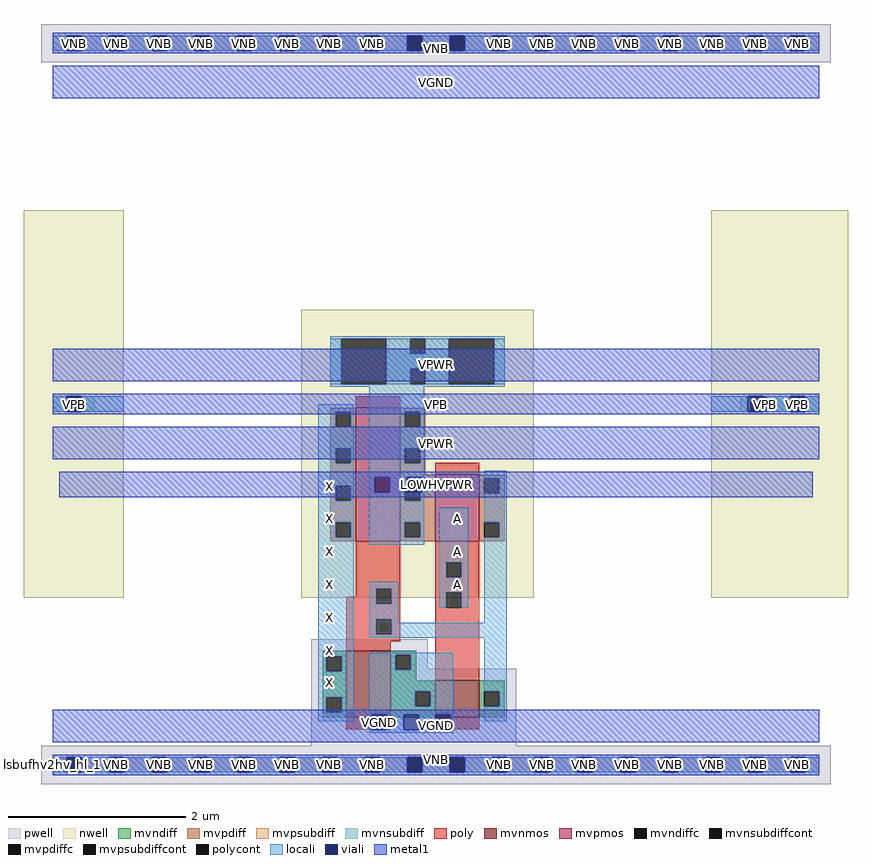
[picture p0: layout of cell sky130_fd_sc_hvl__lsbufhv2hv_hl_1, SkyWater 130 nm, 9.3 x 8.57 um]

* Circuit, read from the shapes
.subckt sky130_fd_sc_hvl__lsbufhv2hv_hl_1 A LOWHVPWR VGND VNB VPB VPWR X
XM1 VGND n1 X VNB sky130_fd_pr__nfet_g5v0d10v5 w=0.75 l=0.5
XM2 n1 A VGND VNB sky130_fd_pr__nfet_g5v0d10v5 w=0.42 l=0.5
XM3 LOWHVPWR n1 X LOWHVPWR sky130_fd_pr__pfet_g5v0d10v5 w=1.5 l=0.5
XM4 n1 A LOWHVPWR LOWHVPWR sky130_fd_pr__pfet_g5v0d10v5 w=0.75 l=0.5
.ends

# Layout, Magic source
magic
tech sky130A
magscale 1 2
<< nwell >>
rect -66 377 160 1251
rect 560 377 1085 1027
rect 1485 377 1794 1251
<< pwell >>
rect -26 1585 1754 1671
rect 583 217 845 283
rect 583 43 1045 217
rect -26 -43 1754 43
<< mvnmos >>
rect 662 107 762 257
rect 862 107 962 191
<< mvpmos >>
rect 683 505 783 805
rect 862 505 962 655
<< mvndiff >>
rect 609 245 662 257
rect 609 211 617 245
rect 651 211 662 245
rect 609 153 662 211
rect 609 119 617 153
rect 651 119 662 153
rect 609 107 662 119
rect 762 249 819 257
rect 762 215 773 249
rect 807 215 819 249
rect 762 191 819 215
rect 762 166 862 191
rect 762 132 817 166
rect 851 132 862 166
rect 762 107 862 132
rect 962 166 1019 191
rect 962 132 973 166
rect 1007 132 1019 166
rect 962 107 1019 132
<< mvpdiff >>
rect 626 797 683 805
rect 626 763 638 797
rect 672 763 683 797
rect 626 714 683 763
rect 626 680 638 714
rect 672 680 683 714
rect 626 630 683 680
rect 626 596 638 630
rect 672 596 683 630
rect 626 547 683 596
rect 626 513 638 547
rect 672 513 683 547
rect 626 505 683 513
rect 783 797 840 805
rect 783 763 794 797
rect 828 763 840 797
rect 783 714 840 763
rect 783 680 794 714
rect 828 680 840 714
rect 783 655 840 680
rect 783 630 862 655
rect 783 596 794 630
rect 828 596 862 630
rect 783 547 862 596
rect 783 513 794 547
rect 828 513 862 547
rect 783 505 862 513
rect 962 647 1019 655
rect 962 613 973 647
rect 1007 613 1019 647
rect 962 547 1019 613
rect 962 513 973 547
rect 1007 513 1019 547
rect 962 505 1019 513
<< mvndiffc >>
rect 617 211 651 245
rect 617 119 651 153
rect 773 215 807 249
rect 817 132 851 166
rect 973 132 1007 166
<< mvpdiffc >>
rect 638 763 672 797
rect 638 680 672 714
rect 638 596 672 630
rect 638 513 672 547
rect 794 763 828 797
rect 794 680 828 714
rect 794 596 828 630
rect 794 513 828 547
rect 973 613 1007 647
rect 973 513 1007 547
<< mvpsubdiff >>
rect 0 1611 31 1645
rect 65 1611 127 1645
rect 161 1611 223 1645
rect 257 1611 319 1645
rect 353 1611 415 1645
rect 449 1611 511 1645
rect 545 1611 607 1645
rect 641 1611 703 1645
rect 737 1611 799 1645
rect 833 1611 895 1645
rect 929 1611 991 1645
rect 1025 1611 1087 1645
rect 1121 1611 1183 1645
rect 1217 1611 1279 1645
rect 1313 1611 1375 1645
rect 1409 1611 1471 1645
rect 1505 1611 1567 1645
rect 1601 1611 1663 1645
rect 1697 1611 1728 1645
rect 0 -17 31 17
rect 65 -17 127 17
rect 161 -17 223 17
rect 257 -17 319 17
rect 353 -17 415 17
rect 449 -17 511 17
rect 545 -17 607 17
rect 641 -17 703 17
rect 737 -17 799 17
rect 833 -17 895 17
rect 929 -17 991 17
rect 1025 -17 1087 17
rect 1121 -17 1183 17
rect 1217 -17 1279 17
rect 1313 -17 1375 17
rect 1409 -17 1471 17
rect 1505 -17 1567 17
rect 1601 -17 1663 17
rect 1697 -17 1728 17
<< mvnsubdiff >>
rect 626 859 650 961
rect 752 927 806 961
rect 840 927 893 961
rect 752 893 893 927
rect 752 859 806 893
rect 840 859 893 893
rect 995 859 1019 961
rect 0 797 31 831
rect 65 797 94 831
rect 1551 797 1575 831
rect 1609 797 1663 831
rect 1697 797 1728 831
<< mvpsubdiffcont >>
rect 31 1611 65 1645
rect 127 1611 161 1645
rect 223 1611 257 1645
rect 319 1611 353 1645
rect 415 1611 449 1645
rect 511 1611 545 1645
rect 607 1611 641 1645
rect 703 1611 737 1645
rect 799 1611 833 1645
rect 895 1611 929 1645
rect 991 1611 1025 1645
rect 1087 1611 1121 1645
rect 1183 1611 1217 1645
rect 1279 1611 1313 1645
rect 1375 1611 1409 1645
rect 1471 1611 1505 1645
rect 1567 1611 1601 1645
rect 1663 1611 1697 1645
rect 31 -17 65 17
rect 127 -17 161 17
rect 223 -17 257 17
rect 319 -17 353 17
rect 415 -17 449 17
rect 511 -17 545 17
rect 607 -17 641 17
rect 703 -17 737 17
rect 799 -17 833 17
rect 895 -17 929 17
rect 991 -17 1025 17
rect 1087 -17 1121 17
rect 1183 -17 1217 17
rect 1279 -17 1313 17
rect 1375 -17 1409 17
rect 1471 -17 1505 17
rect 1567 -17 1601 17
rect 1663 -17 1697 17
<< mvnsubdiffcont >>
rect 650 859 752 961
rect 806 927 840 961
rect 806 859 840 893
rect 893 859 995 961
rect 31 797 65 831
rect 1575 797 1609 831
rect 1663 797 1697 831
<< poly >>
rect 683 805 783 831
rect 862 655 962 681
rect 683 397 783 505
rect 683 379 729 397
rect 662 363 729 379
rect 763 363 783 397
rect 662 329 783 363
rect 662 295 729 329
rect 763 295 783 329
rect 662 279 783 295
rect 862 457 962 505
rect 862 423 887 457
rect 921 423 962 457
rect 862 389 962 423
rect 862 355 887 389
rect 921 355 962 389
rect 662 257 762 279
rect 862 191 962 355
rect 662 81 762 107
rect 862 81 962 107
<< polycont >>
rect 729 363 763 397
rect 729 295 763 329
rect 887 423 921 457
rect 887 355 921 389
<< locali >>
rect 0 1611 31 1645
rect 65 1611 127 1645
rect 161 1611 223 1645
rect 257 1611 319 1645
rect 353 1611 415 1645
rect 449 1611 511 1645
rect 545 1611 607 1645
rect 641 1611 703 1645
rect 737 1611 799 1645
rect 833 1611 895 1645
rect 929 1611 991 1645
rect 1025 1611 1087 1645
rect 1121 1611 1183 1645
rect 1217 1611 1279 1645
rect 1313 1611 1375 1645
rect 1409 1611 1471 1645
rect 1505 1611 1567 1645
rect 1601 1611 1663 1645
rect 1697 1611 1728 1645
rect 626 961 1019 967
rect 626 859 650 961
rect 752 927 806 961
rect 840 927 893 961
rect 752 893 893 927
rect 752 859 806 893
rect 840 859 893 893
rect 995 859 1019 961
rect 626 853 1019 859
rect 0 797 31 831
rect 65 797 160 831
rect 599 797 679 813
rect 599 763 638 797
rect 672 763 679 797
rect 599 714 679 763
rect 599 680 638 714
rect 672 680 679 714
rect 599 630 679 680
rect 599 596 638 630
rect 672 596 679 630
rect 599 547 679 596
rect 599 513 638 547
rect 672 513 679 547
rect 599 245 679 513
rect 713 797 837 853
rect 1485 797 1567 831
rect 1609 797 1663 831
rect 1697 797 1728 831
rect 713 763 794 797
rect 828 763 837 797
rect 713 714 837 763
rect 713 680 794 714
rect 828 680 837 714
rect 713 649 837 680
rect 713 615 726 649
rect 760 630 798 649
rect 760 615 794 630
rect 832 615 837 649
rect 713 596 794 615
rect 828 596 837 615
rect 713 547 837 596
rect 973 647 1023 663
rect 1007 613 1023 647
rect 713 513 794 547
rect 828 513 837 547
rect 713 497 837 513
rect 871 457 937 580
rect 871 423 887 457
rect 921 423 937 457
rect 713 397 779 413
rect 713 363 729 397
rect 763 363 779 397
rect 713 329 779 363
rect 871 389 937 423
rect 871 355 887 389
rect 921 355 937 389
rect 973 547 1023 613
rect 1007 513 1023 547
rect 713 295 729 329
rect 763 321 779 329
rect 973 321 1023 513
rect 763 295 1023 321
rect 713 287 1023 295
rect 599 211 617 245
rect 651 211 679 245
rect 599 153 679 211
rect 599 119 617 153
rect 651 119 679 153
rect 599 99 679 119
rect 713 249 903 253
rect 713 215 773 249
rect 807 215 903 249
rect 713 166 903 215
rect 713 132 817 166
rect 851 132 903 166
rect 713 113 903 132
rect 713 79 719 113
rect 753 79 791 113
rect 825 79 863 113
rect 897 79 903 113
rect 973 166 1023 287
rect 1007 132 1023 166
rect 973 99 1023 132
rect 713 73 903 79
rect 0 -17 31 17
rect 65 -17 127 17
rect 161 -17 223 17
rect 257 -17 319 17
rect 353 -17 415 17
rect 449 -17 511 17
rect 545 -17 607 17
rect 641 -17 703 17
rect 737 -17 799 17
rect 833 -17 895 17
rect 929 -17 991 17
rect 1025 -17 1087 17
rect 1121 -17 1183 17
rect 1217 -17 1279 17
rect 1313 -17 1375 17
rect 1409 -17 1471 17
rect 1505 -17 1567 17
rect 1601 -17 1663 17
rect 1697 -17 1728 17
<< viali >>
rect 31 1611 65 1645
rect 127 1611 161 1645
rect 223 1611 257 1645
rect 319 1611 353 1645
rect 415 1611 449 1645
rect 511 1611 545 1645
rect 607 1611 641 1645
rect 703 1611 737 1645
rect 799 1611 833 1645
rect 895 1611 929 1645
rect 991 1611 1025 1645
rect 1087 1611 1121 1645
rect 1183 1611 1217 1645
rect 1279 1611 1313 1645
rect 1375 1611 1409 1645
rect 1471 1611 1505 1645
rect 1567 1611 1601 1645
rect 1663 1611 1697 1645
rect 31 797 65 831
rect 1567 797 1575 831
rect 1575 797 1601 831
rect 1663 797 1697 831
rect 726 615 760 649
rect 798 630 832 649
rect 798 615 828 630
rect 828 615 832 630
rect 719 79 753 113
rect 791 79 825 113
rect 863 79 897 113
rect 31 -17 65 17
rect 127 -17 161 17
rect 223 -17 257 17
rect 319 -17 353 17
rect 415 -17 449 17
rect 511 -17 545 17
rect 607 -17 641 17
rect 703 -17 737 17
rect 799 -17 833 17
rect 895 -17 929 17
rect 991 -17 1025 17
rect 1087 -17 1121 17
rect 1183 -17 1217 17
rect 1279 -17 1313 17
rect 1375 -17 1409 17
rect 1471 -17 1505 17
rect 1567 -17 1601 17
rect 1663 -17 1697 17
<< metal1 >>
rect 0 1645 1728 1651
rect 0 1611 31 1645
rect 65 1611 127 1645
rect 161 1611 223 1645
rect 257 1611 319 1645
rect 353 1611 415 1645
rect 449 1611 511 1645
rect 545 1611 607 1645
rect 641 1611 703 1645
rect 737 1611 799 1645
rect 833 1611 895 1645
rect 929 1611 991 1645
rect 1025 1611 1087 1645
rect 1121 1611 1183 1645
rect 1217 1611 1279 1645
rect 1313 1611 1375 1645
rect 1409 1611 1471 1645
rect 1505 1611 1567 1645
rect 1601 1611 1663 1645
rect 1697 1611 1728 1645
rect 0 1605 1728 1611
rect 0 1503 1728 1577
rect 0 865 1728 939
rect 0 831 1728 837
rect 0 797 31 831
rect 65 797 1567 831
rect 1601 797 1663 831
rect 1697 797 1728 831
rect 0 791 1728 797
rect 0 689 1728 763
rect 14 649 1714 661
rect 14 615 726 649
rect 760 615 798 649
rect 832 615 1714 649
rect 14 604 1714 615
rect 0 113 1728 125
rect 0 79 719 113
rect 753 79 791 113
rect 825 79 863 113
rect 897 79 1728 113
rect 0 51 1728 79
rect 0 17 1728 23
rect 0 -17 31 17
rect 65 -17 127 17
rect 161 -17 223 17
rect 257 -17 319 17
rect 353 -17 415 17
rect 449 -17 511 17
rect 545 -17 607 17
rect 641 -17 703 17
rect 737 -17 799 17
rect 833 -17 895 17
rect 929 -17 991 17
rect 1025 -17 1087 17
rect 1121 -17 1183 17
rect 1217 -17 1279 17
rect 1313 -17 1375 17
rect 1409 -17 1471 17
rect 1505 -17 1567 17
rect 1601 -17 1663 17
rect 1697 -17 1728 17
rect 0 -23 1728 -17
<< labels >>
flabel locali s 607 538 641 572 0 FreeSans 340 0 0 0 X
port 7 nsew signal output
flabel locali s 895 538 929 572 0 FreeSans 340 0 0 0 A
port 1 nsew signal input
flabel locali s 607 464 641 498 0 FreeSans 340 0 0 0 X
port 7 nsew signal output
flabel locali s 607 390 641 424 0 FreeSans 340 0 0 0 X
port 7 nsew signal output
flabel locali s 895 464 929 498 0 FreeSans 340 0 0 0 A
port 1 nsew signal input
flabel locali s 607 316 641 350 0 FreeSans 340 0 0 0 X
port 7 nsew signal output
flabel locali s 607 242 641 276 0 FreeSans 340 0 0 0 X
port 7 nsew signal output
flabel locali s 607 612 641 646 0 FreeSans 340 0 0 0 X
port 7 nsew signal output
flabel locali s 895 390 929 424 0 FreeSans 340 0 0 0 A
port 1 nsew signal input
flabel locali s 607 168 641 202 0 FreeSans 340 0 0 0 X
port 7 nsew signal output
rlabel comment s 0 0 0 0 4 lsbufhv2hv_hl_1
flabel metal1 s 0 689 1728 763 0 FreeSans 200 0 0 0 VPWR
port 6 nsew power bidirectional
flabel metal1 s 0 865 1728 939 0 FreeSans 200 0 0 0 VPWR
port 6 nsew power bidirectional
flabel metal1 s 0 1503 1728 1577 0 FreeSans 340 0 0 0 VGND
port 3 nsew ground bidirectional
flabel metal1 s 0 51 1728 125 0 FreeSans 340 0 0 0 VGND
port 3 nsew ground bidirectional
flabel metal1 s 0 0 1728 23 0 FreeSans 340 0 0 0 VNB
port 4 nsew ground bidirectional
flabel metal1 s 14 604 1714 661 0 FreeSans 340 0 0 0 LOWHVPWR
port 2 nsew power bidirectional
flabel metal1 s 0 791 1728 837 0 FreeSans 340 0 0 0 VPB
port 5 nsew power bidirectional
flabel metal1 s 0 1605 1728 1628 0 FreeSans 340 0 0 0 VNB
port 4 nsew ground bidirectional
rlabel viali s 798 615 832 649 1 LOWHVPWR
port 2 nsew power bidirectional
rlabel viali s 726 615 760 649 1 LOWHVPWR
port 2 nsew power bidirectional
rlabel metal1 s 14 604 1714 661 1 LOWHVPWR
port 2 nsew power bidirectional
rlabel viali s 863 79 897 113 1 VGND
port 3 nsew ground bidirectional
rlabel viali s 791 79 825 113 1 VGND
port 3 nsew ground bidirectional
rlabel viali s 719 79 753 113 1 VGND
port 3 nsew ground bidirectional
rlabel metal1 s 0 51 1728 125 1 VGND
port 3 nsew ground bidirectional
rlabel metal1 s 0 1503 1728 1577 1 VGND
port 3 nsew ground bidirectional
rlabel locali s 0 1611 1728 1645 1 VNB
port 4 nsew ground bidirectional
rlabel viali s 1663 1611 1697 1645 1 VNB
port 4 nsew ground bidirectional
rlabel viali s 1663 -17 1697 17 1 VNB
port 4 nsew ground bidirectional
rlabel viali s 1567 1611 1601 1645 1 VNB
port 4 nsew ground bidirectional
rlabel viali s 1567 -17 1601 17 1 VNB
port 4 nsew ground bidirectional
rlabel viali s 1471 1611 1505 1645 1 VNB
port 4 nsew ground bidirectional
rlabel viali s 1471 -17 1505 17 1 VNB
port 4 nsew ground bidirectional
rlabel viali s 1375 1611 1409 1645 1 VNB
port 4 nsew ground bidirectional
rlabel viali s 1375 -17 1409 17 1 VNB
port 4 nsew ground bidirectional
rlabel viali s 1279 1611 1313 1645 1 VNB
port 4 nsew ground bidirectional
rlabel viali s 1279 -17 1313 17 1 VNB
port 4 nsew ground bidirectional
rlabel viali s 1183 1611 1217 1645 1 VNB
port 4 nsew ground bidirectional
rlabel viali s 1183 -17 1217 17 1 VNB
port 4 nsew ground bidirectional
rlabel viali s 1087 1611 1121 1645 1 VNB
port 4 nsew ground bidirectional
rlabel viali s 1087 -17 1121 17 1 VNB
port 4 nsew ground bidirectional
rlabel viali s 991 1611 1025 1645 1 VNB
port 4 nsew ground bidirectional
rlabel viali s 991 -17 1025 17 1 VNB
port 4 nsew ground bidirectional
rlabel viali s 895 1611 929 1645 1 VNB
port 4 nsew ground bidirectional
rlabel viali s 895 -17 929 17 1 VNB
port 4 nsew ground bidirectional
rlabel viali s 799 1611 833 1645 1 VNB
port 4 nsew ground bidirectional
rlabel viali s 799 -17 833 17 1 VNB
port 4 nsew ground bidirectional
rlabel viali s 703 1611 737 1645 1 VNB
port 4 nsew ground bidirectional
rlabel viali s 703 -17 737 17 1 VNB
port 4 nsew ground bidirectional
rlabel viali s 607 1611 641 1645 1 VNB
port 4 nsew ground bidirectional
rlabel viali s 607 -17 641 17 1 VNB
port 4 nsew ground bidirectional
rlabel viali s 511 1611 545 1645 1 VNB
port 4 nsew ground bidirectional
rlabel viali s 511 -17 545 17 1 VNB
port 4 nsew ground bidirectional
rlabel viali s 415 1611 449 1645 1 VNB
port 4 nsew ground bidirectional
rlabel viali s 415 -17 449 17 1 VNB
port 4 nsew ground bidirectional
rlabel viali s 319 1611 353 1645 1 VNB
port 4 nsew ground bidirectional
rlabel viali s 319 -17 353 17 1 VNB
port 4 nsew ground bidirectional
rlabel viali s 223 1611 257 1645 1 VNB
port 4 nsew ground bidirectional
rlabel viali s 223 -17 257 17 1 VNB
port 4 nsew ground bidirectional
rlabel viali s 127 1611 161 1645 1 VNB
port 4 nsew ground bidirectional
rlabel viali s 127 -17 161 17 1 VNB
port 4 nsew ground bidirectional
rlabel viali s 31 1611 65 1645 1 VNB
port 4 nsew ground bidirectional
rlabel viali s 31 -17 65 17 1 VNB
port 4 nsew ground bidirectional
rlabel metal1 s 0 -23 1728 23 1 VNB
port 4 nsew ground bidirectional
rlabel metal1 s 0 1605 1728 1651 1 VNB
port 4 nsew ground bidirectional
rlabel locali s 1485 797 1728 831 1 VPB
port 5 nsew power bidirectional
rlabel viali s 1663 797 1697 831 1 VPB
port 5 nsew power bidirectional
rlabel viali s 1567 797 1601 831 1 VPB
port 5 nsew power bidirectional
rlabel viali s 31 797 65 831 1 VPB
port 5 nsew power bidirectional
rlabel metal1 s 0 791 1728 837 1 VPB
port 5 nsew power bidirectional
rlabel metal1 s 0 865 1728 939 1 VPWR
port 6 nsew power bidirectional
<< properties >>
string FIXED_BBOX 0 0 1728 1628
string GDS_END 12834
string GDS_FILE $PDKPATH/libs.ref/sky130_fd_sc_hvl/gds/sky130_fd_sc_hvl.gds
string GDS_START 140
string LEFclass CORE
string LEFsite unithvdbl
string LEFsymmetry X Y
<< end >>
